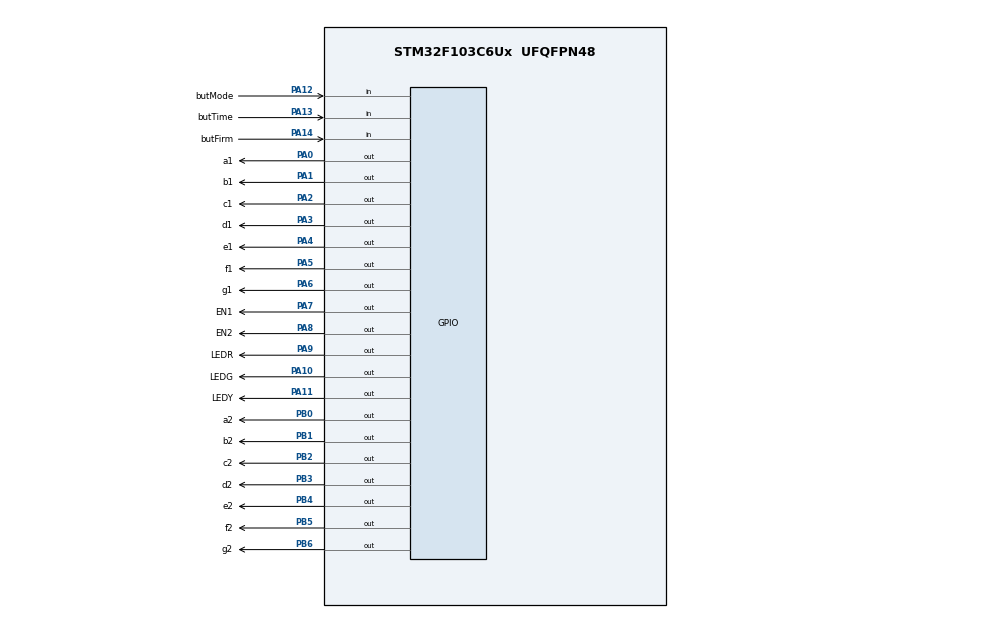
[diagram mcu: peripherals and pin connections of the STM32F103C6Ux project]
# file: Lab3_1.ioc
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Mcu.Family=STM32F1
Mcu.Name=STM32F103C6Ux
Mcu.Package=UFQFPN48
NVIC.PriorityGroup=NVIC_PRIORITYGROUP_4
NVIC.TIM2_IRQn=true\:0\:0\:false\:false\:true\:true\:true\:true
PA0-WKUP.GPIO_Label=a1
PA0-WKUP.Signal=GPIO_Output
PA1.GPIO_Label=b1
PA1.Signal=GPIO_Output
PA10.GPIO_Label=LEDG
PA10.Signal=GPIO_Output
PA11.GPIO_Label=LEDY
PA11.Signal=GPIO_Output
PA12.GPIO_Label=butMode
PA12.Signal=GPIO_Input
PA13.GPIO_Label=butTime
PA13.Signal=GPIO_Input
PA14.GPIO_Label=butFirm
PA14.Signal=GPIO_Input
PA2.GPIO_Label=c1
PA2.Signal=GPIO_Output
PA3.GPIO_Label=d1
PA3.Signal=GPIO_Output
PA4.GPIO_Label=e1
PA4.Signal=GPIO_Output
PA5.GPIO_Label=f1
PA5.Signal=GPIO_Output
PA6.GPIO_Label=g1
PA6.Signal=GPIO_Output
PA7.GPIO_Label=EN1
PA7.Signal=GPIO_Output
PA8.GPIO_Label=EN2
PA8.Signal=GPIO_Output
PA9.GPIO_Label=LEDR
PA9.Signal=GPIO_Output
PB0.GPIO_Label=a2
PB0.Signal=GPIO_Output
PB1.GPIO_Label=b2
PB1.Signal=GPIO_Output
PB2.GPIO_Label=c2
PB2.Signal=GPIO_Output
PB3.GPIO_Label=d2
PB3.Signal=GPIO_Output
PB4.GPIO_Label=e2
PB4.Signal=GPIO_Output
PB5.GPIO_Label=f2
PB5.Signal=GPIO_Output
PB6.GPIO_Label=g2
PB6.Signal=GPIO_Output
ProjectManager.HeapSize=0x200
ProjectManager.StackSize=0x400
ProjectManager.TargetToolchain=STM32CubeIDE
RCC.APB1Freq_Value=8000000
RCC.APB2Freq_Value=8000000
TIM2.Period=9
TIM2.Prescaler=7999
VP_TIM2_VS_ClockSourceINT.Mode=Internal
board=custom

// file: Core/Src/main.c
/* USER CODE BEGIN Header */
/**
  ******************************************************************************
  * @file           : main.c
  * @brief          : Main program body
  ******************************************************************************
  * @attention
  *
  * Copyright (c) 2022 STMicroelectronics.
  * All rights reserved.
  *
  * This software is licensed under terms that can be found in the LICENSE file
  * in the root directory of this software component.
  * If no LICENSE file comes with this software, it is provided AS-IS.
  *
  ******************************************************************************
  */
/* USER CODE END Header */
#include "main.h"

/* USER CODE BEGIN Includes */
#include "input_processing.h"
/* USER CODE END Includes */

TIM_HandleTypeDef htim2;

void SystemClock_Config(void);
static void MX_GPIO_Init(void);
static void MX_TIM2_Init(void);

/* USER CODE BEGIN 0 */
void display7SEG_1(int num);
void display7SEG_2(int num);
/* USER CODE END 0 */

int main(void)
{

  /* MCU Configuration--------------------------------------------------------*/

  /* Reset of all peripherals, Initializes the Flash interface and the Systick. */
  HAL_Init();

  /* Configure the system clock */
  SystemClock_Config();

  /* Initialize all configured peripherals */
  MX_GPIO_Init();
  MX_TIM2_Init();
  /* USER CODE BEGIN 2 */
  HAL_TIM_Base_Start_IT(&htim2);
  HAL_GPIO_WritePin(EN1_GPIO_Port, EN1_Pin, 0);
  HAL_GPIO_WritePin(EN1_GPIO_Port, EN1_Pin, 0);
  HAL_GPIO_WritePin(LEDR_GPIO_Port, LEDR_Pin, 0);
  HAL_GPIO_WritePin(LEDG_GPIO_Port, LEDG_Pin, 1);
  HAL_GPIO_WritePin(LEDY_GPIO_Port, LEDY_Pin, 1);
  display7SEG_1(0);
  display7SEG_2(5);
  /* USER CODE END 2 */

  /* Infinite loop */
  while (1)
  {

    /* USER CODE BEGIN 3 */

	  fsm_for_input_processing();
  }
  /* USER CODE END 3 */
}

void SystemClock_Config(void)
{
  RCC_OscInitTypeDef RCC_OscInitStruct = {0};
  RCC_ClkInitTypeDef RCC_ClkInitStruct = {0};

  /** Initializes the RCC Oscillators according to the specified parameters
  * in the RCC_OscInitTypeDef structure.
  */
  RCC_OscInitStruct.OscillatorType = RCC_OSCILLATORTYPE_HSI;
  RCC_OscInitStruct.HSIState = RCC_HSI_ON;
  RCC_OscInitStruct.HSICalibrationValue = RCC_HSICALIBRATION_DEFAULT;
  RCC_OscInitStruct.PLL.PLLState = RCC_PLL_NONE;
  if (HAL_RCC_OscConfig(&RCC_OscInitStruct) != HAL_OK)
  {
    Error_Handler();
  }

  /** Initializes the CPU, AHB and APB buses clocks
  */
  RCC_ClkInitStruct.ClockType = RCC_CLOCKTYPE_HCLK|RCC_CLOCKTYPE_SYSCLK
                              |RCC_CLOCKTYPE_PCLK1|RCC_CLOCKTYPE_PCLK2;
  RCC_ClkInitStruct.SYSCLKSource = RCC_SYSCLKSOURCE_HSI;
  RCC_ClkInitStruct.AHBCLKDivider = RCC_SYSCLK_DIV1;
  RCC_ClkInitStruct.APB1CLKDivider = RCC_HCLK_DIV1;
  RCC_ClkInitStruct.APB2CLKDivider = RCC_HCLK_DIV1;

  if (HAL_RCC_ClockConfig(&RCC_ClkInitStruct, FLASH_LATENCY_0) != HAL_OK)
  {
    Error_Handler();
  }
}

static void MX_TIM2_Init(void)
{

  TIM_ClockConfigTypeDef sClockSourceConfig = {0};
  TIM_MasterConfigTypeDef sMasterConfig = {0};

  htim2.Instance = TIM2;
  htim2.Init.Prescaler = 7999;
  htim2.Init.CounterMode = TIM_COUNTERMODE_UP;
  htim2.Init.Period = 9;
  htim2.Init.ClockDivision = TIM_CLOCKDIVISION_DIV1;
  htim2.Init.AutoReloadPreload = TIM_AUTORELOAD_PRELOAD_DISABLE;
  if (HAL_TIM_Base_Init(&htim2) != HAL_OK)
  {
    Error_Handler();
  }
  sClockSourceConfig.ClockSource = TIM_CLOCKSOURCE_INTERNAL;
  if (HAL_TIM_ConfigClockSource(&htim2, &sClockSourceConfig) != HAL_OK)
  {
    Error_Handler();
  }
  sMasterConfig.MasterOutputTrigger = TIM_TRGO_RESET;
  sMasterConfig.MasterSlaveMode = TIM_MASTERSLAVEMODE_DISABLE;
  if (HAL_TIMEx_MasterConfigSynchronization(&htim2, &sMasterConfig) != HAL_OK)
  {
    Error_Handler();
  }

}

static void MX_GPIO_Init(void)
{
  GPIO_InitTypeDef GPIO_InitStruct = {0};

  /* GPIO Ports Clock Enable */
  __HAL_RCC_GPIOA_CLK_ENABLE();
  __HAL_RCC_GPIOB_CLK_ENABLE();

  /*Configure GPIO pin Output Level */
  HAL_GPIO_WritePin(GPIOA, a1_Pin|b1_Pin|c1_Pin|d1_Pin
                          |e1_Pin|f1_Pin|g1_Pin|EN1_Pin
                          |EN2_Pin|LEDR_Pin|LEDG_Pin|LEDY_Pin, GPIO_PIN_RESET);

  /*Configure GPIO pin Output Level */
  HAL_GPIO_WritePin(GPIOB, a2_Pin|b2_Pin|c2_Pin|d2_Pin
                          |e2_Pin|f2_Pin|g2_Pin, GPIO_PIN_RESET);

  /*Configure GPIO pins : a1_Pin b1_Pin c1_Pin d1_Pin
                           e1_Pin f1_Pin g1_Pin EN1_Pin
                           EN2_Pin LEDR_Pin LEDG_Pin LEDY_Pin */
  GPIO_InitStruct.Pin = a1_Pin|b1_Pin|c1_Pin|d1_Pin
                          |e1_Pin|f1_Pin|g1_Pin|EN1_Pin
                          |EN2_Pin|LEDR_Pin|LEDG_Pin|LEDY_Pin;
  GPIO_InitStruct.Mode = GPIO_MODE_OUTPUT_PP;
  GPIO_InitStruct.Pull = GPIO_NOPULL;
  GPIO_InitStruct.Speed = GPIO_SPEED_FREQ_LOW;
  HAL_GPIO_Init(GPIOA, &GPIO_InitStruct);

  /*Configure GPIO pins : a2_Pin b2_Pin c2_Pin d2_Pin
                           e2_Pin f2_Pin g2_Pin */
  GPIO_InitStruct.Pin = a2_Pin|b2_Pin|c2_Pin|d2_Pin
                          |e2_Pin|f2_Pin|g2_Pin;
  GPIO_InitStruct.Mode = GPIO_MODE_OUTPUT_PP;
  GPIO_InitStruct.Pull = GPIO_NOPULL;
  GPIO_InitStruct.Speed = GPIO_SPEED_FREQ_LOW;
  HAL_GPIO_Init(GPIOB, &GPIO_InitStruct);

  /*Configure GPIO pins : butMode_Pin butTime_Pin butFirm_Pin */
  GPIO_InitStruct.Pin = butMode_Pin|butTime_Pin|butFirm_Pin;
  GPIO_InitStruct.Mode = GPIO_MODE_INPUT;
  GPIO_InitStruct.Pull = GPIO_NOPULL;
  HAL_GPIO_Init(GPIOA, &GPIO_InitStruct);

}

/* USER CODE BEGIN 4 */
void display7SEG_1(int num){
	if (num==1){
		HAL_GPIO_WritePin(a1_GPIO_Port, a1_Pin, 1);
		HAL_GPIO_WritePin(a1_GPIO_Port, b1_Pin, 0);
		HAL_GPIO_WritePin(a1_GPIO_Port, c1_Pin, 0);
		HAL_GPIO_WritePin(a1_GPIO_Port, d1_Pin, 1);
		HAL_GPIO_WritePin(a1_GPIO_Port, e1_Pin, 1);
		HAL_GPIO_WritePin(a1_GPIO_Port, f1_Pin, 1);
		HAL_GPIO_WritePin(a1_GPIO_Port, g1_Pin, 1);
	}
	else if (num==2){
		HAL_GPIO_WritePin(a1_GPIO_Port, a1_Pin, 0);
		HAL_GPIO_WritePin(a1_GPIO_Port, b1_Pin, 0);
		HAL_GPIO_WritePin(a1_GPIO_Port, c1_Pin, 1);
		HAL_GPIO_WritePin(a1_GPIO_Port, d1_Pin, 0);
		HAL_GPIO_WritePin(a1_GPIO_Port, e1_Pin, 0);
		HAL_GPIO_WritePin(a1_GPIO_Port, f1_Pin, 1);
		HAL_GPIO_WritePin(a1_GPIO_Port, g1_Pin, 0);
	}
	else if (num==3){
		HAL_GPIO_WritePin(a1_GPIO_Port, a1_Pin, 0);
		HAL_GPIO_WritePin(a1_GPIO_Port, b1_Pin, 0);
		HAL_GPIO_WritePin(a1_GPIO_Port, c1_Pin, 0);
		HAL_GPIO_WritePin(a1_GPIO_Port, d1_Pin, 0);
		HAL_GPIO_WritePin(a1_GPIO_Port, e1_Pin, 1);
		HAL_GPIO_WritePin(a1_GPIO_Port, f1_Pin, 1);
		HAL_GPIO_WritePin(a1_GPIO_Port, g1_Pin, 0);

	}
	else if (num==4){
		HAL_GPIO_WritePin(a1_GPIO_Port, a1_Pin, 1);
		HAL_GPIO_WritePin(a1_GPIO_Port, b1_Pin, 0);
		HAL_GPIO_WritePin(a1_GPIO_Port, c1_Pin, 0);
		HAL_GPIO_WritePin(a1_GPIO_Port, d1_Pin, 1);
		HAL_GPIO_WritePin(a1_GPIO_Port, e1_Pin, 1);
		HAL_GPIO_WritePin(a1_GPIO_Port, f1_Pin, 0);
		HAL_GPIO_WritePin(a1_GPIO_Port, g1_Pin, 0);
	}
	else if (num==5){
		HAL_GPIO_WritePin(a1_GPIO_Port, a1_Pin, 0);
		HAL_GPIO_WritePin(a1_GPIO_Port, b1_Pin, 1);
		HAL_GPIO_WritePin(a1_GPIO_Port, c1_Pin, 0);
		HAL_GPIO_WritePin(a1_GPIO_Port, d1_Pin, 0);
		HAL_GPIO_WritePin(a1_GPIO_Port, e1_Pin, 1);
		HAL_GPIO_WritePin(a1_GPIO_Port, f1_Pin, 0);
		HAL_GPIO_WritePin(a1_GPIO_Port, g1_Pin, 0);
	}
	else if (num==6){
		HAL_GPIO_WritePin(a1_GPIO_Port, a1_Pin, 0);
		HAL_GPIO_WritePin(a1_GPIO_Port, b1_Pin, 1);
		HAL_GPIO_WritePin(a1_GPIO_Port, c1_Pin, 0);
		HAL_GPIO_WritePin(a1_GPIO_Port, d1_Pin, 0);
		HAL_GPIO_WritePin(a1_GPIO_Port, e1_Pin, 0);
		HAL_GPIO_WritePin(a1_GPIO_Port, f1_Pin, 0);
		HAL_GPIO_WritePin(a1_GPIO_Port, g1_Pin, 0);
	}
	else if (num==7){
		HAL_GPIO_WritePin(a1_GPIO_Port, a1_Pin, 0);
		HAL_GPIO_WritePin(a1_GPIO_Port, b1_Pin, 0);
		HAL_GPIO_WritePin(a1_GPIO_Port, c1_Pin, 0);
		HAL_GPIO_WritePin(a1_GPIO_Port, d1_Pin, 1);
		HAL_GPIO_WritePin(a1_GPIO_Port, e1_Pin, 1);
		HAL_GPIO_WritePin(a1_GPIO_Port, f1_Pin, 1);
		HAL_GPIO_WritePin(a1_GPIO_Port, g1_Pin, 1);
	}
	else if (num==8){
		HAL_GPIO_WritePin(a1_GPIO_Port, a1_Pin, 0);
		HAL_GPIO_WritePin(a1_GPIO_Port, b1_Pin, 0);
		HAL_GPIO_WritePin(a1_GPIO_Port, c1_Pin, 0);
		HAL_GPIO_WritePin(a1_GPIO_Port, d1_Pin, 0);
		HAL_GPIO_WritePin(a1_GPIO_Port, e1_Pin, 0);
		HAL_GPIO_WritePin(a1_GPIO_Port, f1_Pin, 0);
		HAL_GPIO_WritePin(a1_GPIO_Port, g1_Pin, 0);
	}
	else if (num==9){
		HAL_GPIO_WritePin(a1_GPIO_Port, a1_Pin, 0);
		HAL_GPIO_WritePin(a1_GPIO_Port, b1_Pin, 0);
		HAL_GPIO_WritePin(a1_GPIO_Port, c1_Pin, 0);
		HAL_GPIO_WritePin(a1_GPIO_Port, d1_Pin, 0);
		HAL_GPIO_WritePin(a1_GPIO_Port, e1_Pin, 1);
		HAL_GPIO_WritePin(a1_GPIO_Port, f1_Pin, 0);
		HAL_GPIO_WritePin(a1_GPIO_Port, g1_Pin, 0);
	}
	else if (num==0){
		HAL_GPIO_WritePin(a1_GPIO_Port, a1_Pin, 0);
		HAL_GPIO_WritePin(a1_GPIO_Port, b1_Pin, 0);
		HAL_GPIO_WritePin(a1_GPIO_Port, c1_Pin, 0);
		HAL_GPIO_WritePin(a1_GPIO_Port, d1_Pin, 0);
		HAL_GPIO_WritePin(a1_GPIO_Port, e1_Pin, 0);
		HAL_GPIO_WritePin(a1_GPIO_Port, f1_Pin, 0);
		HAL_GPIO_WritePin(a1_GPIO_Port, g1_Pin, 1 );
	}
}
void display7SEG_2(int num){
	if (num==1){
		HAL_GPIO_WritePin(a2_GPIO_Port, a2_Pin, 1);
		HAL_GPIO_WritePin(a2_GPIO_Port, b2_Pin, 0);
		HAL_GPIO_WritePin(a2_GPIO_Port, c2_Pin, 0);
		HAL_GPIO_WritePin(a2_GPIO_Port, d2_Pin, 1);
		HAL_GPIO_WritePin(a2_GPIO_Port, e2_Pin, 1);
		HAL_GPIO_WritePin(a2_GPIO_Port, f2_Pin, 1);
		HAL_GPIO_WritePin(a2_GPIO_Port, g2_Pin, 1);
	}
	else if (num==2){
		HAL_GPIO_WritePin(a2_GPIO_Port, a2_Pin, 0);
		HAL_GPIO_WritePin(a2_GPIO_Port, b2_Pin, 0);
		HAL_GPIO_WritePin(a2_GPIO_Port, c2_Pin, 1);
		HAL_GPIO_WritePin(a2_GPIO_Port, d2_Pin, 0);
		HAL_GPIO_WritePin(a2_GPIO_Port, e2_Pin, 0);
		HAL_GPIO_WritePin(a2_GPIO_Port, f2_Pin, 1);
		HAL_GPIO_WritePin(a2_GPIO_Port, g2_Pin, 0);
	}
	else if (num==3){
		HAL_GPIO_WritePin(a2_GPIO_Port, a2_Pin, 0);
		HAL_GPIO_WritePin(a2_GPIO_Port, b2_Pin, 0);
		HAL_GPIO_WritePin(a2_GPIO_Port, c2_Pin, 0);
		HAL_GPIO_WritePin(a2_GPIO_Port, d2_Pin, 0);
		HAL_GPIO_WritePin(a2_GPIO_Port, e2_Pin, 1);
		HAL_GPIO_WritePin(a2_GPIO_Port, f2_Pin, 1);
		HAL_GPIO_WritePin(a2_GPIO_Port, g2_Pin, 0);

	}
	else if (num==4){
		HAL_GPIO_WritePin(a2_GPIO_Port, a2_Pin, 1);
		HAL_GPIO_WritePin(a2_GPIO_Port, b2_Pin, 0);
		HAL_GPIO_WritePin(a2_GPIO_Port, c2_Pin, 0);
		HAL_GPIO_WritePin(a2_GPIO_Port, d2_Pin, 1);
		HAL_GPIO_WritePin(a2_GPIO_Port, e2_Pin, 1);
		HAL_GPIO_WritePin(a2_GPIO_Port, f2_Pin, 0);
		HAL_GPIO_WritePin(a2_GPIO_Port, g2_Pin, 0);
	}
	else if (num==5){
		HAL_GPIO_WritePin(a2_GPIO_Port, a2_Pin, 0);
		HAL_GPIO_WritePin(a2_GPIO_Port, b2_Pin, 1);
		HAL_GPIO_WritePin(a2_GPIO_Port, c2_Pin, 0);
		HAL_GPIO_WritePin(a2_GPIO_Port, d2_Pin, 0);
		HAL_GPIO_WritePin(a2_GPIO_Port, e2_Pin, 1);
		HAL_GPIO_WritePin(a2_GPIO_Port, f2_Pin, 0);
		HAL_GPIO_WritePin(a2_GPIO_Port, g2_Pin, 0);
	}
	else if (num==6){
		HAL_GPIO_WritePin(a2_GPIO_Port, a2_Pin, 0);
		HAL_GPIO_WritePin(a2_GPIO_Port, b2_Pin, 1);
		HAL_GPIO_WritePin(a2_GPIO_Port, c2_Pin, 0);
		HAL_GPIO_WritePin(a2_GPIO_Port, d2_Pin, 0);
		HAL_GPIO_WritePin(a2_GPIO_Port, e2_Pin, 0);
		HAL_GPIO_WritePin(a2_GPIO_Port, f2_Pin, 0);
		HAL_GPIO_WritePin(a2_GPIO_Port, g2_Pin, 0);
	}
	else if (num==7){
		HAL_GPIO_WritePin(a2_GPIO_Port, a2_Pin, 0);
		HAL_GPIO_WritePin(a2_GPIO_Port, b2_Pin, 0);
		HAL_GPIO_WritePin(a2_GPIO_Port, c2_Pin, 0);
		HAL_GPIO_WritePin(a2_GPIO_Port, d2_Pin, 1);
		HAL_GPIO_WritePin(a2_GPIO_Port, e2_Pin, 1);
		HAL_GPIO_WritePin(a2_GPIO_Port, f2_Pin, 1);
		HAL_GPIO_WritePin(a2_GPIO_Port, g2_Pin, 1);
	}
	else if (num==8){
		HAL_GPIO_WritePin(a2_GPIO_Port, a2_Pin, 0);
		HAL_GPIO_WritePin(a2_GPIO_Port, b2_Pin, 0);
		HAL_GPIO_WritePin(a2_GPIO_Port, c2_Pin, 0);
		HAL_GPIO_WritePin(a2_GPIO_Port, d2_Pin, 0);
		HAL_GPIO_WritePin(a2_GPIO_Port, e2_Pin, 0);
		HAL_GPIO_WritePin(a2_GPIO_Port, f2_Pin, 0);
		HAL_GPIO_WritePin(a2_GPIO_Port, g2_Pin, 0);
	}
	else if (num==9){
		HAL_GPIO_WritePin(a2_GPIO_Port, a2_Pin, 0);
		HAL_GPIO_WritePin(a2_GPIO_Port, b2_Pin, 0);
		HAL_GPIO_WritePin(a2_GPIO_Port, c2_Pin, 0);
		HAL_GPIO_WritePin(a2_GPIO_Port, d2_Pin, 0);
		HAL_GPIO_WritePin(a2_GPIO_Port, e2_Pin, 1);
		HAL_GPIO_WritePin(a2_GPIO_Port, f2_Pin, 0);
		HAL_GPIO_WritePin(a2_GPIO_Port, g2_Pin, 0);
	} else if (num==0){
		HAL_GPIO_WritePin(a2_GPIO_Port, a2_Pin, 0);
		HAL_GPIO_WritePin(a2_GPIO_Port, b2_Pin, 0);
		HAL_GPIO_WritePin(a2_GPIO_Port, c2_Pin, 0);
		HAL_GPIO_WritePin(a2_GPIO_Port, d2_Pin, 0);
		HAL_GPIO_WritePin(a2_GPIO_Port, e2_Pin, 0);
		HAL_GPIO_WritePin(a2_GPIO_Port, f2_Pin, 0);
		HAL_GPIO_WritePin(a2_GPIO_Port, g2_Pin, 1 );
	}
}

/* USER CODE END 4 */

void Error_Handler(void)
{
  __disable_irq();
  while (1)
  {
  }
}
